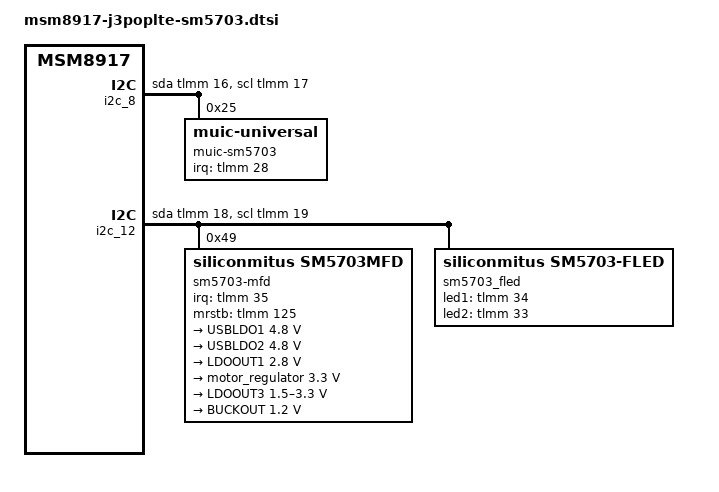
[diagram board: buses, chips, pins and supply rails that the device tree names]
/* Copyright (c) 2012, The Linux Foundation. All rights reserved.
 *
 * This program is free software; you can redistribute it and/or modify
 * it under the terms of the GNU General Public License version 2 and
 * only version 2 as published by the Free Software Foundation.
 *
 * This program is distributed in the hope that it will be useful,
 * but WITHOUT ANY WARRANTY; without even the implied warranty of
 * MERCHANTABILITY or FITNESS FOR A PARTICULAR PURPOSE.  See the
 * GNU General Public License for more details.
 */

&soc {
	muic {
		status = "okay";
		muic,support-list = "+OTG:GND",
				"-MHL:1K",
				"-VZW Accessory:28.7K",
				"-VZW Incompatible:34K",
				"-RDU TA:40.2K",
				"-HMT:49.9K",
				"-Audiodock:64.9K",
				"-USB LANHUB:80.07K",
				"-Charging Cable:102K",
				"-Game Pad:121K",
				"+Jig USB Off:255K",
				"+Jig USB On:301K",
				"+Deskdock:365K",
				"-TYPE2 Charger:442K",
				"+Jig UART Off:523K",
				"+Jig UART On:619K",
				"+TA:OPEN",
				"+USB:OPEN",
				"+CDP:OPEN",
				"+Undefined Charging:XXX";
		muic,afcmode-tx = /bits/ 8 <0x46>;
		muic,qc-hv = /bits/ 8 <0x9>;
	};

	i2c_8: i2c@8 {
		cell-index = <8>;
		compatible = "i2c-gpio";
		gpios = <&tlmm 16 0 /* sda */
			&tlmm 17 0	/* scl */
			>;
		i2c-gpio,delay-us = <2>;
		#address-cells = <1>;
		#size-cells = <0>;

		muic-sm5703@25 {
			status = "okay";
			compatible = "muic-universal";
			reg = <0x25>;
			interrupt-parent = <&tlmm>;
			interrupts = <28 0>;
			muic-universal,irq-gpio = <&tlmm 28 0x00>;
			sm5703,wakeup;
			muic-universal,chip_name = "sm,sm5703";
			muic-universal,afc-support = <0>;
			pinctrl-names = "muic_i2c_pins_default",
				"muic_i2c_pins_active",
				"muic_i2c_pins_suspend";
			pinctrl-0 = <&sm5703_i2c_default &sm5703_interrupt_default>;
			pinctrl-1 = <&sm5703_i2c_active &sm5703_interrupt_default>;
			pinctrl-2 = <&sm5703_i2c_suspend &sm5703_interrupt_default>;
		};
	};

	i2c_12: i2c@12 {
		cell-index = <12>;
		compatible = "i2c-gpio";
		gpios = <&tlmm 18 0 /* sda */
			&tlmm 19 0	/* scl */
			>;
		i2c-gpio,delay-us = <2>;
		#address-cells = <1>;
		#size-cells = <0>;

		sm5703-mfd@49{
			compatible = "siliconmitus,sm5703mfd";
			reg = <0x49>;
			interrupt-parent = <&tlmm>;
			sm5703,irq-gpio = <&tlmm 35 0x00>;
			pinctrl-names = "default";
			pinctrl-0 = <&sm5703_mfd_i2c_default &sm5703_mfd_interrupt_default &sm5703_mfd_mrstb_default &sm5703_chg_en_default>;
			sm5703,mrstb-gpio = <&tlmm 125 0x00>;

			sm5703_charger {
				compatible = "siliconmitus,sm5703-charger";
				chg_autostop = <1>;
				chg_autoset = <1>;
				chg_aiclen = <1>;
				chg_aiclth = <4300>;
				fg_vol_val = <4350>;
				fg_soc_val = <95>;
				fg_curr_avr_val = <150>;
			};

			sm5703_usbldo1 {
				compatible = "siliconmitus,sm5703-usbldo1";
				regulator-name = "USBLDO1"; /* change name by yourself */
				regulator-min-microvolt = <4800000>;
				regulator-max-microvolt = <4800000>; /* max == min then apply_uV = 1 */
				/* regulator-microvolt-offset = < >; optional*/
				/* regulator-boot-on; optional, exist = enabled */
				regulator-always-on;
				/* regulator-ramp-delay = <100>; optional*/
			};

			sm5703_usbldo2 {
				compatible = "siliconmitus,sm5703-usbldo2";
				regulator-name = "USBLDO2"; /* change name by yourself */
				regulator-min-microvolt = <4800000>;
				regulator-max-microvolt = <4800000>; /* max == min then apply_uV = 1 */
				/* regulator-microvolt-offset = < >; optional*/
				/* regulator-boot-on; optional, exist = enabled */
				/* regulator-always-on; optional, exist = enabled */
				/* regulator-ramp-delay = <100>; optional*/
			};

			sm5703_ldo1 {
				compatible = "siliconmitus,sm5703-ldo1";
				regulator-name = "LDOOUT1"; /* change name by yourself */
				regulator-min-microvolt = <2800000>;
				regulator-max-microvolt = <2800000>; /* max == min then apply_uV = 1 */
				/* regulator-microvolt-offset = < >; optional*/
				/* regulator-boot-on; optional, exist = enabled */
				/* regulator-always-on; optional, exist = enabled */
				/* regulator-ramp-delay = <100>; optional*/
			};

			motor_regulator: sm5703_ldo2 {
				compatible = "siliconmitus,sm5703-ldo2";
				regulator-name = "LDOOUT2"; /* change name by yourself */
				regulator-min-microvolt = <3300000>;
				regulator-max-microvolt = <3300000>; /* max == min then apply_uV = 1 */
				/* regulator-microvolt-offset = < >; optional*/
				/* regulator-boot-on; optional, exist = enabled */
				/* regulator-always-on; optional, exist = enabled */
				/* regulator-ramp-delay = <100>; optional*/
			};

			sm5703_ldo3 {
				compatible = "siliconmitus,sm5703-ldo3";
				regulator-name = "LDOOUT3"; /* change name by yourself */
				regulator-min-microvolt = <1500000>;
				regulator-max-microvolt = <3300000>; /* max == min then apply_uV = 1 */
				/* regulator-microvolt-offset = < >; optional*/
				/* regulator-boot-on; optional, exist = enabled */
				/* regulator-always-on; optional, exist = enabled */
				/* regulator-ramp-delay = <100>; optional*/
			};

			sm5703_buck {
				compatible = "siliconmitus,sm5703-buck";
				regulator-name = "BUCKOUT"; /* change name by yourself */
				regulator-min-microvolt = <1200000>;
				regulator-max-microvolt = <1200000>; /* max == min then apply_uV = 1 */
				/* regulator-microvolt-offset = < >; optional*/
				/* regulator-boot-on; optional, exist = enabled */
				/* regulator-always-on; optional, exist = enabled */
				/* regulator-ramp-delay = <100>; optional*/

			};
		};

		sm5703_fled {
			compatible = "siliconmitus,sm5703-fled";
			enable = <1 1>;
			id = <0>;
			flash-mode-current-mA = <1200>;
			preflash-mode-current-mA = <100>;
			torch-mode-current-mA = <150>;
			used-gpio-control = <1>;
			sm5703,led1-gpio  = <&tlmm 34 0x00>;
			sm5703,led2-gpio  = <&tlmm 33 0x00>;
			pinctrl-names = "fled_default","fled_sleep";
				pinctrl-0 = <&cam_flash_active>;
				pinctrl-1 = <&cam_flash_sleep>;
		};



	};
};


